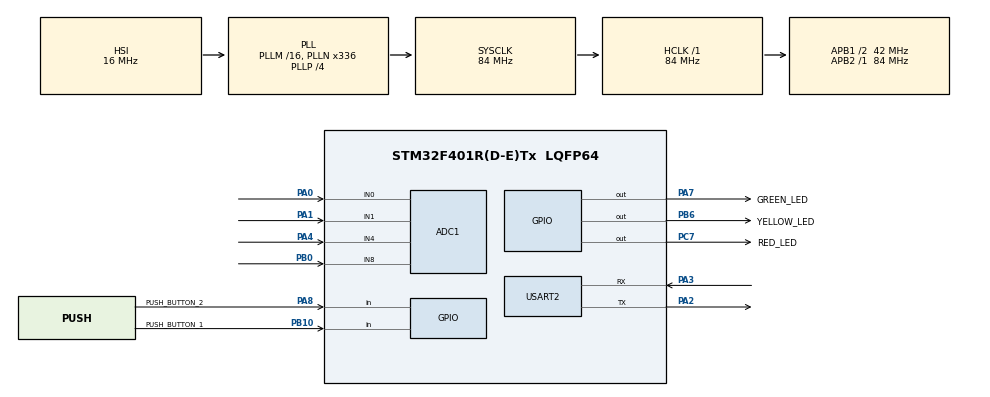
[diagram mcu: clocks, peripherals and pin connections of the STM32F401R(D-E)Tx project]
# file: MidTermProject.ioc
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ADC1.Channel-2\#ChannelRegularConversion=ADC_CHANNEL_0
ADC1.NbrOfConversionFlag=1
ADC1.Rank-2\#ChannelRegularConversion=1
ADC1.SamplingTime-2\#ChannelRegularConversion=ADC_SAMPLETIME_3CYCLES
ADC1.master=1
Mcu.Family=STM32F4
Mcu.Name=STM32F401R(D-E)Tx
Mcu.Package=LQFP64
NVIC.PriorityGroup=NVIC_PRIORITYGROUP_0
PA0-WKUP.Signal=ADCx_IN0
PA1.Signal=ADCx_IN1
PA2.Mode=Asynchronous
PA2.Signal=USART2_TX
PA3.Mode=Asynchronous
PA3.Signal=USART2_RX
PA4.Signal=ADCx_IN4
PA7.GPIO_Label=GREEN_LED
PA7.Signal=GPIO_Output
PA8.GPIO_Label=PUSH_BUTTON_2
PA8.Signal=GPIO_Input
PB0.Signal=ADCx_IN8
PB10.GPIO_Label=PUSH_BUTTON_1
PB10.Signal=GPIO_Input
PB6.GPIO_Label=YELLOW_LED
PB6.Signal=GPIO_Output
PC7.GPIO_Label=RED_LED
PC7.Signal=GPIO_Output
ProjectManager.HeapSize=0x200
ProjectManager.StackSize=0x400
ProjectManager.TargetToolchain=STM32CubeIDE
RCC.AHBFreq_Value=84000000
RCC.APB1CLKDivider=RCC_HCLK_DIV2
RCC.APB1Freq_Value=42000000
RCC.APB1TimFreq_Value=84000000
RCC.APB2Freq_Value=84000000
RCC.APB2TimFreq_Value=84000000
RCC.CortexFreq_Value=84000000
RCC.HCLKFreq_Value=84000000
RCC.HSE_VALUE=8000000
RCC.HSI_VALUE=16000000
RCC.LSE_VALUE=32768
RCC.PLLN=336
RCC.PLLP=RCC_PLLP_DIV4
RCC.PLLQ=7
RCC.SYSCLKFreq_VALUE=84000000
RCC.SYSCLKSource=RCC_SYSCLKSOURCE_PLLCLK
RCC.VCOOutputFreq_Value=336000000
SH.ADCx_IN0.0=ADC1_IN0,IN0
SH.ADCx_IN1.0=ADC1_IN1,IN1
SH.ADCx_IN4.0=ADC1_IN4,IN4
SH.ADCx_IN8.0=ADC1_IN8,IN8
USART2.VirtualMode=VM_ASYNC
board=NUCLEO-F401RE

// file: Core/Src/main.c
/* USER CODE BEGIN Header */
/**
  ******************************************************************************
  * @file           : main.c
  * @brief          : Main program body
  ******************************************************************************
  * @attention
  *
  * Copyright (c) 2024 STMicroelectronics.
  * All rights reserved.
  *
  * This software is licensed under terms that can be found in the LICENSE file
  * in the root directory of this software component.
  * If no LICENSE file comes with this software, it is provided AS-IS.
  *
  ******************************************************************************
  */
/* USER CODE END Header */
#include "main.h"
#include "adc.h"
#include "usart.h"
#include "gpio.h"

/* USER CODE BEGIN Includes */
#include "button.h"
#include "activity_tracking.h"
#include "led.h"
#include "switch_channel.h"
#include "read_temperature.h"
#include "ECG_module.h"
#include "interface.h"
#include "stdio.h"
#include "stdint.h"
#include "math.h"
/* USER CODE END Includes */

/* USER CODE BEGIN PD */
#define ELAB_ECG_TIME 5 // Tempo di elaborazione ECG in secondi

#define SAMPLING_FREQUENCY_ECG 200 //Frequenza per l'ECG
#define SAMPLING_TIME_ECG (1.0/SAMPLING_FREQUENCY_ECG) //Tempo per ECG in s

#define ECG_BUF_LENGHT (SAMPLING_FREQUENCY_ECG/50) //Lunghezza buffer per il filtro

#define ELAB_ECG_BUF_SIZE (ELAB_ECG_TIME*SAMPLING_FREQUENCY_ECG) //Lunghezza finestra con valori ECG

/* USER CODE END PD */

void SystemClock_Config(void);

int main(void)
{

  /* MCU Configuration--------------------------------------------------------*/

  /* Reset of all peripherals, Initializes the Flash interface and the Systick. */
  HAL_Init();

  /* Configure the system clock */
  SystemClock_Config();

  /* Initialize all configured peripherals */
  MX_GPIO_Init();
  MX_ADC1_Init();
  MX_USART2_UART_Init();

  /* Infinite loop */
  /* USER CODE BEGIN WHILE */

  uint32_t t1,t2;
  uint16_t data_out;

  int singleConvMode;

  /*Dichiarazione e inizializzazione push button*/
  buttonConfig temp_Button, ECG_Button;

  button_init(&temp_Button, PUSH_BUTTON_1_Pin, GPIOB, GPIO_PIN_SET);
  button_init(&ECG_Button, PUSH_BUTTON_2_Pin, GPIOA, GPIO_PIN_SET);

  GPIO_PinState b_state;

  /*Dichiarazione e inizializzazione led */
  ledConfig green_Led, yellow_Led, red_Led;

  led_init(&green_Led, GREEN_LED_Pin, GPIOA, GPIO_PIN_RESET);
  led_init(&yellow_Led, YELLOW_LED_Pin, GPIOB, GPIO_PIN_RESET);
  led_init(&red_Led, RED_LED_Pin, GPIOC, GPIO_PIN_RESET);

  /* Dichiarazione e inizializzazione struttura termistore */
  TempParam tempParam;
  init_TemperatureParams(&tempParam);

  /* Dichiarazione e inizializzazione struttura ECG */
  FilterECGParam filterECG;
  ECGParam ECGparam;
  uint16_t ECG_buf[ECG_BUF_LENGHT], elab_ECG_buf[ELAB_ECG_BUF_SIZE];
  UserActivity userActivity;
  StepBuffer stepBuffer;
  StepBuffer_init(&stepBuffer);
  UserActivity_init(&userActivity);
  ECG_init(&filterECG, &ECGparam, ECG_buf, elab_ECG_buf, ECG_BUF_LENGHT, ELAB_ECG_BUF_SIZE);

  while (1)
  {

	  t1 = HAL_GetTick();

  	  //SENSORE DI FORZA
	  switch_channel_and_read(&data_out, &hadc1, ADC_CHANNEL_1, ADC_SAMPLETIME_3CYCLES, singleConvMode);
	  read_forceSensor(&data_out, &userActivity.right_sensor);
	  switch_channel_and_read(&data_out, &hadc1, ADC_CHANNEL_4, ADC_SAMPLETIME_3CYCLES, singleConvMode);
	  read_forceSensor(&data_out, &userActivity.left_sensor);
	  step_counter(&userActivity, &stepBuffer );
	  detect_activity(&userActivity,&stepBuffer,&green_Led, &yellow_Led, &red_Led);

	  printf("\rSTEPS: %d  FSR1: %f    FSR2: %f\n", userActivity->steps ,userActivity->right_sensor,userActivity->left_sensor );
	  printf("\rSTATE: %s \n", userState_to_string(userActivity.state));
);

	  // VECCHIO
	  /*float R1,R2;
	  switch_channel_and_read(&data_out, &hadc1, ADC_CHANNEL_1, ADC_SAMPLETIME_3CYCLES, singleConvMode);
	  read_forceSensor(&data_out, &R1);
	  switch_channel_and_read(&data_out, &hadc1, ADC_CHANNEL_4, ADC_SAMPLETIME_3CYCLES, singleConvMode);
	  read_forceSensor(&data_out, &R2);
	  printf("\rFORCE1: %f", R1);*/

/*
	  b_state=read_button(&temp_Button);

	  if (b_state==GPIO_PIN_RESET)
	  {
		  //SENSORE DI TEMPERATURA
		  singleConvMode = 0;
		  if( switch_channel_and_read(&data_out, &hadc1, ADC_CHANNEL_0, ADC_SAMPLETIME_3CYCLES, singleConvMode) != HAL_OK){
			  printf("\rError with ADC \n");
		  }
		  else {
		  read_Temperature(&tempParam, data_out);
		  }
	  } else if (temp_Button.previous_state == GPIO_PIN_RESET && b_state == GPIO_PIN_SET)
		  reset_TemperatureParams(&tempParam);
*/

	  /*
	  b_state=read_button(&ECG_Button);

	  if (b_state==GPIO_PIN_RESET)
	  {
	  	  //SENSORE ECG
  		  singleConvMode = 1;
  		  if( switch_channel_and_read(&data_out, &hadc1, ADC_CHANNEL_8, ADC_SAMPLETIME_3CYCLES, singleConvMode) != HAL_OK){
  			  printf("\rError with ADC \n");
  		  }
  		  else {
  			  filter_signal(&filterECG, &ECGparam, data_out);
  			  if( ECGparam.count == ECGparam.length ){
  				  if( elab_ECG(&ECGparam, SAMPLING_TIME_ECG) != HAL_OK) {
  					  printf("\rError with ECG elaboration, Retry.. \n");
  				  }
  				  ECGparam.count = 0;
  			  }
  		  }
	  }else if (ECG_Button.previous_state == GPIO_PIN_RESET && b_state == GPIO_PIN_SET) {
	      reset_ECG(&filterECG, &ECGparam); // Esegui il reset solo al rilascio
	  }
	  */

	  t2 = HAL_GetTick();

	  HAL_Delay(5);

	  //HAL_Delay((SAMPLING_TIME_ECG*1000) - (t2-t1));

    /* USER CODE END WHILE */

  }
}

void SystemClock_Config(void)
{
  RCC_OscInitTypeDef RCC_OscInitStruct = {0};
  RCC_ClkInitTypeDef RCC_ClkInitStruct = {0};

  /** Configure the main internal regulator output voltage
  */
  __HAL_RCC_PWR_CLK_ENABLE();
  __HAL_PWR_VOLTAGESCALING_CONFIG(PWR_REGULATOR_VOLTAGE_SCALE2);

  /** Initializes the RCC Oscillators according to the specified parameters
  * in the RCC_OscInitTypeDef structure.
  */
  RCC_OscInitStruct.OscillatorType = RCC_OSCILLATORTYPE_HSI;
  RCC_OscInitStruct.HSIState = RCC_HSI_ON;
  RCC_OscInitStruct.HSICalibrationValue = RCC_HSICALIBRATION_DEFAULT;
  RCC_OscInitStruct.PLL.PLLState = RCC_PLL_ON;
  RCC_OscInitStruct.PLL.PLLSource = RCC_PLLSOURCE_HSI;
  RCC_OscInitStruct.PLL.PLLM = 16;
  RCC_OscInitStruct.PLL.PLLN = 336;
  RCC_OscInitStruct.PLL.PLLP = RCC_PLLP_DIV4;
  RCC_OscInitStruct.PLL.PLLQ = 7;
  if (HAL_RCC_OscConfig(&RCC_OscInitStruct) != HAL_OK)
  {
    Error_Handler();
  }

  /** Initializes the CPU, AHB and APB buses clocks
  */
  RCC_ClkInitStruct.ClockType = RCC_CLOCKTYPE_HCLK|RCC_CLOCKTYPE_SYSCLK
                              |RCC_CLOCKTYPE_PCLK1|RCC_CLOCKTYPE_PCLK2;
  RCC_ClkInitStruct.SYSCLKSource = RCC_SYSCLKSOURCE_PLLCLK;
  RCC_ClkInitStruct.AHBCLKDivider = RCC_SYSCLK_DIV1;
  RCC_ClkInitStruct.APB1CLKDivider = RCC_HCLK_DIV2;
  RCC_ClkInitStruct.APB2CLKDivider = RCC_HCLK_DIV1;

  if (HAL_RCC_ClockConfig(&RCC_ClkInitStruct, FLASH_LATENCY_2) != HAL_OK)
  {
    Error_Handler();
  }
}

/* USER CODE BEGIN 4 */

int _write(int file, char *ptr, int len)
{
	HAL_UART_Transmit(&huart2, (uint8_t *)ptr, len, HAL_MAX_DELAY);
    return len;
}

/* USER CODE END 4 */

void Error_Handler(void)
{
  __disable_irq();
  while (1)
  {
  }
}
